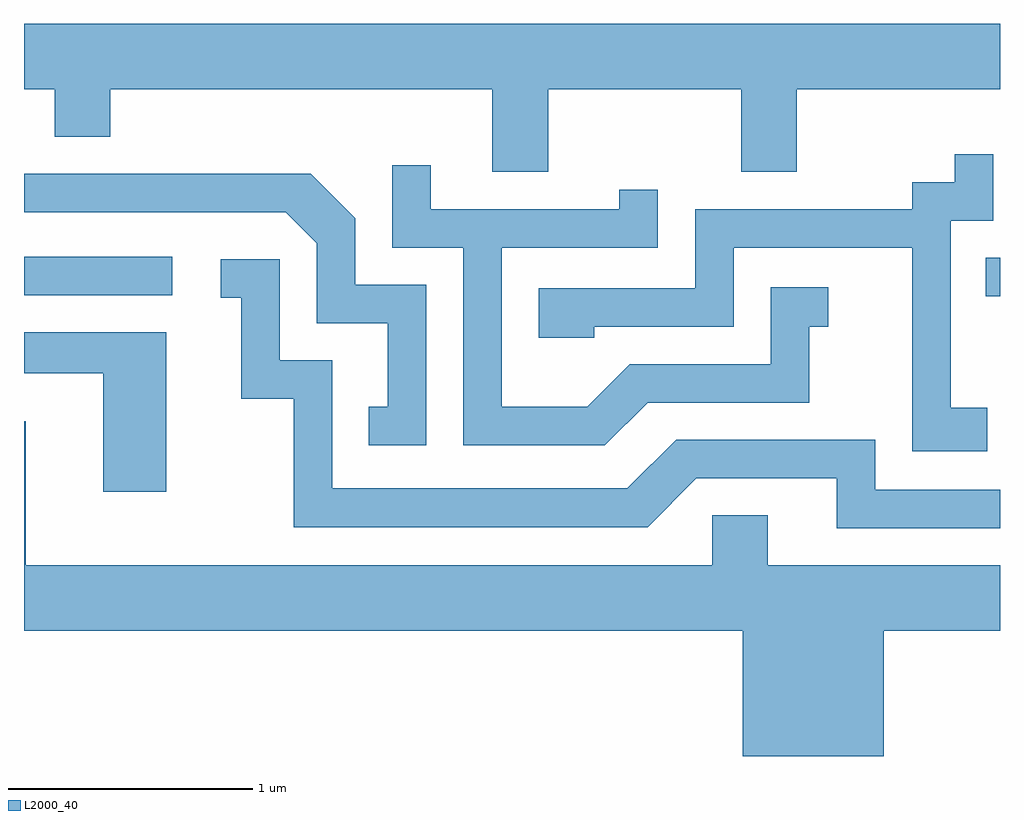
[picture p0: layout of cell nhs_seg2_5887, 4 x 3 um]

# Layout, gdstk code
import gdstk
lib = gdstk.Library(unit=1e-6, precision=1e-09)
def R(c, l, rs):  # rectangles x0, y0, x1, y1
    for r in rs: c.add(gdstk.rectangle(r[:2], r[2:], *l))
def P(c, l, *ps):  # polygons
    for p in ps: c.add(gdstk.Polygon(p, *l))
L2000_40 = (2000, 40)

nhs_seg2_5887 = lib.new_cell('nhs_seg2_5887')
R(nhs_seg2_5887, L2000_40, [(363.553,989.746,363.611,989.904), (359.611,989.751,360.218,989.909)])
P(nhs_seg2_5887, L2000_40, [(359.611,990.596),(359.736,990.596),(359.736,990.401),(359.964,990.401),(359.964,990.596),(361.531,990.596),(361.531,990.256),(361.759,990.256),(361.759,990.596),(362.551,990.596),(362.551,990.256),(362.779,990.256),(362.779,990.596),(363.611,990.596),(363.611,990.864),(359.611,990.864)],
  [(363.559,989.289),(363.409,989.289),(363.409,990.056),(363.584,990.056),(363.584,990.328),(363.426,990.328),(363.426,990.214),(363.251,990.214),(363.251,990.104),(362.361,990.104),(362.361,989.779),(361.721,989.779),(361.721,989.576),(361.949,989.576),(361.949,989.621),(362.519,989.621),(362.519,989.946),(363.251,989.946),(363.251,989.111),(363.559,989.111)],
  [(362.167,989.311),(362.829,989.311),(362.829,989.621),(362.908,989.621),(362.908,989.784),(362.671,989.784),(362.671,989.469),(362.094,989.469),(361.919,989.294),(361.569,989.294),(361.569,989.946),(362.209,989.946),(362.209,990.183),(362.051,990.183),(362.051,990.104),(361.279,990.104),(361.279,990.283),(361.121,990.283),(361.121,989.946),(361.411,989.946),(361.411,989.136),(361.992,989.136)],
  [(361.259,989.794),(360.969,989.794),(360.969,990.067),(360.787,990.249),(359.611,990.249),(359.611,990.091),(360.684,990.091),(360.811,989.964),(360.811,989.636),(361.101,989.636),(361.101,989.294),(361.023,989.294),(361.023,989.136),(361.259,989.136)],
  [(363.611,988.954),(363.099,988.954),(363.099,989.159),(362.284,989.159),(362.084,988.959),(360.874,988.959),(360.874,989.484),(360.659,989.484),(360.659,989.899),(360.418,989.899),(360.418,989.741),(360.501,989.741),(360.501,989.326),(360.716,989.326),(360.716,988.801),(362.167,988.801),(362.367,989.001),(362.941,989.001),(362.941,988.796),(363.611,988.796)],
  [(360.194,989.599),(359.611,989.599),(359.611,989.431),(359.936,989.431),(359.936,988.946),(360.194,988.946)],
  [(363.134,988.376),(363.611,988.376),(363.611,988.644),(362.659,988.644),(362.659,988.849),(362.431,988.849),(362.431,988.644),(359.619,988.644),(359.619,989.234),(359.611,989.234),(359.611,988.376),(362.556,988.376),(362.556,987.861),(363.134,987.861)])

lib.write_gds('nhs_seg2_5887.gds')
